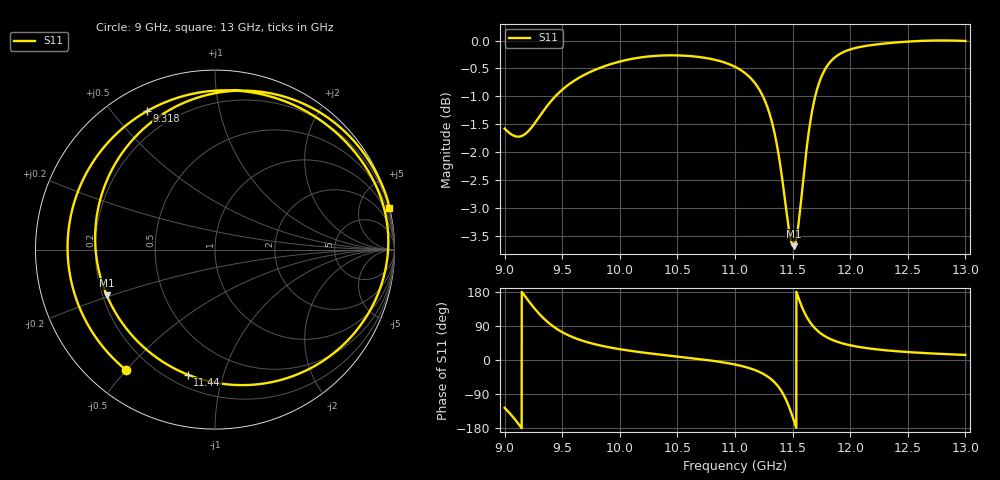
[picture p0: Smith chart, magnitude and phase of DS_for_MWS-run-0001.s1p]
! TOUCHSTONE file generated by CST DESIGN STUDIO
! Date and time: Tue Feb  4 16:41:30 2025
! Project name: C:\Work\MatlabApps\UnitCellOptimizationMatlab\CST\unitcell.cst
! Tree item: Tasks\Sweep1\SPara1\S-Parameters
! Header version: 2024
! Port assignment regex: !\s*Touchstone port\s*([0-9]+)\s*=\s*(CST MWS port|CST DES external port|CST DES block port)\s*(.+)\s* \(\"(.*)\"\)(\s*mode\s*([0-9]+))?.*
! Touchstone port assignment:
! Touchstone port 1 = CST DES external port 1 ("")
# GHz S MA R 50
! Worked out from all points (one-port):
!   4001 points, 9 GHz to 13 GHz, reference 50 ohm
!   lowest |S11| = -3.7 dB at 11.51 GHz (marker M1), VSWR 4.79, Z = 10.8 - j9.65 ohm
!   |S11| at or under -10 dB: nowhere
!   S11 on the Smith chart (normalised r, x): 9 GHz: 0.11, -0.50; 9.318 GHz: 0.10, +0.62; 11.44 GHz: 0.27, -0.77; 13 GHz: 0.03, +8.52
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9  0.834 -126.3
9.07  0.8228 -149.5
9.161  0.8225 174.8
9.228  0.8346 147.9
9.318  0.8595 116.2
9.398  0.8813 94.1
9.5  0.9035 73.5
9.706  0.9332 48.0
10  0.9576 28.5
10.5  0.9698 9.1
11  0.9473 -12.0
11.164  0.9185 -25.5
11.276  0.8746 -42.2
11.36  0.8103 -64.4
11.404  0.7596 -82.6
11.439  0.7132 -102.2
11.469  0.6767 -123.6
11.5  0.6556 -149.9
11.508  0.6546 -157.1
11.538  0.6699 175.4
11.568  0.7101 149.9
11.614  0.788 118.5
11.662  0.8562 95.2
11.728  0.9151 74.1
11.8  0.949 59.5
12  0.9818 38.8
12.5  0.9978 21.0
13  0.9991 13.4
